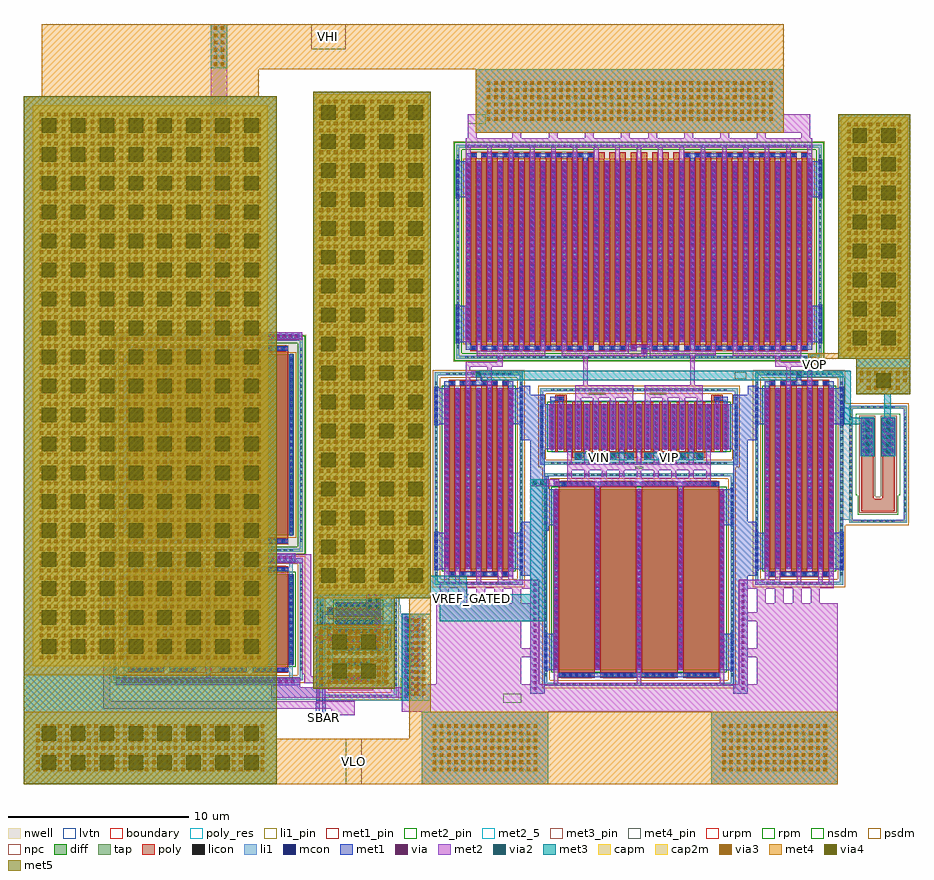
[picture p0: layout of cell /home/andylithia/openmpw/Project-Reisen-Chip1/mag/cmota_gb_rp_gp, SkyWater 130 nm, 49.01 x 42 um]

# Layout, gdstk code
from math import pi, radians
import gdstk
lib = gdstk.Library(unit=1e-6, precision=1e-09)
def R(c, l, rs):  # rectangles x0, y0, x1, y1
    for r in rs: c.add(gdstk.rectangle(r[:2], r[2:], *l))
def A(c, l, x, y, w, h, nx, ny, dx, dy):  # array of equal rectangles
    R(c, l, [(x+i*dx, y+j*dy, x+i*dx+w, y+j*dy+h) for i in range(nx) for j in range(ny)])
nwell = (64, 20)
diff = (65, 20)
tap = (65, 44)
poly_res = (66, 13)
poly = (66, 20)
licon = (66, 44)
li1_pin = (67, 16)
li1 = (67, 20)
mcon = (67, 44)
met1_pin = (68, 16)
met1 = (68, 20)
via = (68, 44)
met2_5 = (69, 5)
met2_pin = (69, 16)
met2 = (69, 20)
via2 = (69, 44)
met3_pin = (70, 16)
met3 = (70, 20)
via3 = (70, 44)
met4_pin = (71, 16)
met4 = (71, 20)
via4 = (71, 44)
met5 = (72, 20)
urpm = (79, 20)
rpm = (86, 20)
capm = (89, 44)
nsdm = (93, 44)
psdm = (94, 20)
npc = (95, 20)
cap2m = (97, 44)
lvtn = (125, 44)
boundary = (235, 4)

imirror2 = lib.new_cell('imirror2')
R(imirror2, nwell, [(19.49,7.09,30.32,19.28)])
R(imirror2, diff, [(20.175,1.035,29.625,6.035), (20.18,8.185,29.63,18.185)])
R(imirror2, tap, [(19.665,0.165,30.135,0.335), (19.665,0.335,19.835,6.735), (29.965,0.335,30.135,6.735), (19.665,6.735,30.135,6.905), (19.67,7.27,30.14,7.44), (19.67,7.44,19.84,18.93), (29.97,7.44,30.14,18.93), (19.67,18.93,30.14,19.1)])
A(imirror2, poly, 20.465, 0.595, 2, 5.88, 4, 1, 2.29, 0)
A(imirror2, poly, 20.47, 7.7, 2, 10.97, 4, 1, 2.29, 0)
A(imirror2, licon, 20.225, 0.165, 0.17, 0.17, 28, 2, 0.34, 6.57)
A(imirror2, licon, 20.7, 0.675, 0.17, 0.17, 5, 2, 0.34, 5.55)
A(imirror2, licon, 22.91, 0.675, 0.17, 0.17, 4, 1, 0.34, 0)
A(imirror2, licon, 25.7, 0.675, 0.17, 0.17, 4, 1, 0.34, 0)
A(imirror2, licon, 27.57, 0.675, 0.17, 0.17, 5, 2, 0.34, 5.55)
A(imirror2, licon, 19.665, 0.73, 0.17, 0.17, 1, 17, 0, 0.34)
A(imirror2, licon, 29.965, 0.73, 0.17, 0.17, 1, 17, 0, 0.34)
A(imirror2, licon, 20.235, 1.24, 0.17, 0.17, 5, 14, 2.29, 0.34)
A(imirror2, licon, 22.99, 6.225, 0.17, 0.17, 5, 1, 0.34, 0)
A(imirror2, licon, 25.28, 6.225, 0.17, 0.17, 5, 1, 0.34, 0)
A(imirror2, licon, 20.23, 7.27, 0.17, 0.17, 28, 2, 0.34, 11.66)
A(imirror2, licon, 20.705, 7.78, 0.17, 0.17, 5, 2, 0.34, 10.64)
A(imirror2, licon, 22.995, 7.78, 0.17, 0.17, 5, 2, 0.34, 10.64)
A(imirror2, licon, 25.285, 7.78, 0.17, 0.17, 5, 2, 0.34, 10.64)
A(imirror2, licon, 27.575, 7.78, 0.17, 0.17, 5, 2, 0.34, 10.64)
A(imirror2, licon, 19.67, 7.83, 0.17, 0.17, 1, 32, 0, 0.34)
A(imirror2, licon, 29.97, 7.83, 0.17, 0.17, 1, 32, 0, 0.34)
A(imirror2, licon, 20.24, 8.34, 0.17, 0.17, 5, 29, 2.29, 0.34)
A(imirror2, li1, 20.47, 7.78, 2, 0.17, 4, 2, 2.29, 10.64)
A(imirror2, li1, 20.24, 8.165, 0.17, 10.04, 5, 1, 2.29, 0)
R(imirror2, li1, [(19.8,-0.1,30,0.165), (19.665,0.165,30.135,0.335), (19.665,0.335,19.835,6.735), (20.235,0.335,20.405,0.675), (24.815,0.335,24.985,6.055), (29.395,0.335,29.565,0.675), (29.965,0.335,30.135,6.735), (20.235,0.675,22.465,0.845), (22.755,0.675,24.255,0.845), (25.545,0.675,27.045,0.845), (27.335,0.675,29.565,0.845), (20.235,0.845,20.405,6.225), (29.395,0.845,29.565,6.225), (22.525,1.015,22.695,6.055), (27.105,1.015,27.275,6.055), (20.235,6.225,22.465,6.395), (22.755,6.225,24.755,6.395), (25.045,6.225,27.045,6.395), (27.335,6.225,29.565,6.395), (20.235,6.395,20.405,6.735), (29.395,6.395,29.565,6.735), (19.665,6.735,30.135,6.905), (19.67,7.27,30.14,7.44), (19.67,7.44,19.84,18.93), (29.97,7.44,30.14,18.93), (19.67,18.93,30.14,19.1), (19.8,19.1,30.1,19.4)])
A(imirror2, mcon, 20.135, 0.015, 0.17, 0.17, 27, 1, 0.36, 0)
A(imirror2, mcon, 20.66, 0.675, 0.17, 0.17, 5, 2, 0.36, 5.55)
A(imirror2, mcon, 22.88, 0.675, 0.17, 0.17, 4, 1, 0.36, 0)
A(imirror2, mcon, 25.67, 0.675, 0.17, 0.17, 4, 1, 0.36, 0)
A(imirror2, mcon, 27.53, 0.675, 0.17, 0.17, 5, 2, 0.36, 5.55)
A(imirror2, mcon, 20.235, 1.11, 0.17, 0.17, 5, 14, 2.29, 0.36)
A(imirror2, mcon, 22.95, 6.225, 0.17, 0.17, 5, 1, 0.36, 0)
A(imirror2, mcon, 25.24, 6.225, 0.17, 0.17, 5, 1, 0.36, 0)
A(imirror2, mcon, 20.665, 7.78, 0.17, 0.17, 5, 2, 0.36, 10.64)
A(imirror2, mcon, 22.955, 7.78, 0.17, 0.17, 5, 2, 0.36, 10.64)
A(imirror2, mcon, 25.245, 7.78, 0.17, 0.17, 5, 2, 0.36, 10.64)
A(imirror2, mcon, 27.535, 7.78, 0.17, 0.17, 5, 2, 0.36, 10.64)
A(imirror2, mcon, 20.24, 8.42, 0.17, 0.17, 5, 27, 2.29, 0.36)
A(imirror2, mcon, 20.005, 19.115, 0.17, 0.17, 28, 1, 0.36, 0)
A(imirror2, met1, 20.49, 18.39, 1.96, 0.23, 4, 1, 2.29, 0)
R(imirror2, met1, [(19.8,-0.1,30,0.3), (20.485,0.645,22.445,0.875), (22.775,0.645,24.235,0.875), (25.565,0.645,27.025,0.875), (27.355,0.645,29.315,0.875), (20.205,1.035,20.435,6.035), (22.48,1.035,22.74,6.035), (24.77,1.035,25.03,6.035), (27.06,1.035,27.32,5.73), (29.365,1.035,29.595,6.035), (26.745,5.73,27.32,6.035), (26.745,6.035,27.05,6.195), (20.485,6.195,22.445,6.425), (22.775,6.195,24.735,6.425), (25.065,6.195,27.05,6.425), (27.355,6.195,29.315,6.425), (22.775,6.425,24.73,6.6), (26.745,6.425,27.05,6.725), (19.7,6.6,24.73,6.66), (19.7,6.66,24.6,7.1), (27.6,6.7,29.7,6.725), (26.745,6.725,29.7,7.03), (27.6,7.03,29.7,7.2), (19.7,7.1,21.3,7.3), (20.49,7.75,22.45,7.98), (22.78,7.75,27.03,7.78), (27.36,7.75,29.32,7.98), (22.76,7.78,27.03,7.98), (22.76,7.98,23.035,8.185), (20.21,8.185,20.44,18.185), (22.485,8.185,23.035,8.475), (24.775,8.185,25.035,18.185), (27.065,8.185,27.325,18.185), (29.37,8.185,29.6,18.185), (22.485,8.475,22.745,18.185), (19.8,19,30.1,19.4)])
A(imirror2, via, 20.185, 0.025, 0.15, 0.15, 30, 1, 0.32, 0)
A(imirror2, via, 22.535, 1.22, 0.15, 0.15, 3, 15, 2.29, 0.32)
A(imirror2, via, 27.775, 6.875, 0.15, 0.15, 6, 1, 0.32, 0)
A(imirror2, via, 19.945, 6.925, 0.15, 0.15, 4, 1, 0.32, 0)
A(imirror2, via, 22.54, 8.31, 0.15, 0.15, 3, 31, 2.29, 0.32)
A(imirror2, via, 20.075, 19.125, 0.15, 0.15, 31, 1, 0.32, 0)
R(imirror2, met2_5, [(19.8,-0.1,20,0.3), (29.6,6.7,29.7,7.2), (19.8,19,20,19.4)])
R(imirror2, met2_pin, [(19.5,6.6,19.8,7.3)])
R(imirror2, met2, [(19.8,-0.1,30,0.3), (24.77,0.3,25.03,6.035), (22.48,1.035,22.74,8.185), (27.06,1.035,27.32,8.185), (19.5,6.6,19.8,6.7), (19.5,6.7,21.3,7.3), (27.6,6.7,29.7,7.2), (22.48,8.185,22.745,15.94), (24.775,8.185,25.035,19), (27.06,8.185,27.325,8.295), (27.065,8.295,27.325,18.185), (22.485,15.94,22.745,18.185), (19.8,19,30.1,19.4)])
R(imirror2, nsdm, [(20.05,0.91,29.75,6.16), (19.545,7.145,30.265,7.565), (19.545,7.565,19.965,18.805), (29.845,7.565,30.265,18.805), (19.545,18.805,30.265,19.225)])
R(imirror2, psdm, [(19.54,0.04,30.26,0.46), (19.54,0.46,19.96,6.61), (29.84,0.46,30.26,6.61), (19.54,6.61,30.26,7.03), (20.055,8.06,29.755,18.31)])
A(imirror2, npc, 20.6, 6.125, 1.73, 0.37, 4, 1, 2.29, 0)
A(imirror2, npc, 20.605, 7.68, 1.73, 0.37, 4, 2, 2.29, 10.64)
R(imirror2, npc, [(20.6,0.575,22.33,0.945), (22.81,0.575,24.2,0.945), (25.6,0.575,26.99,0.945), (27.47,0.575,29.2,0.945)])
imirror2.add(gdstk.Label('IN', (19.65,6.95), layer=69, texttype=16))
imirror2.add(gdstk.Label('OUT', (29.65,6.95), layer=69, texttype=5))
imirror2.add(gdstk.Label('VHI', (19.9,19.2), layer=69, texttype=5))
imirror2.add(gdstk.Label('VLO', (19.9,0.1), layer=69, texttype=5))

gated_iref_fix = lib.new_cell('gated_iref_fix')
R(gated_iref_fix, diff, [(8.1,0.75,10.79,3.25)])
R(gated_iref_fix, tap, [(5.51,-0.12,11.3,0.05), (5.51,0.05,5.68,3.95), (11.13,0.05,11.3,3.95), (5.51,3.95,11.3,4.12)])
R(gated_iref_fix, poly_res, [(6.39,2.63,6.74,3.02), (7.22,2.63,7.57,3.02), (6.39,3.02,7.57,3.37)])
R(gated_iref_fix, poly, [(9.285,0.22,9.6,0.66), (8.41,0.31,9.04,0.64), (9.85,0.31,10.48,0.64), (6.39,0.53,6.74,3.02), (7.22,0.53,7.57,3.02), (8.41,0.64,8.56,3.38), (8.89,0.64,9.04,3.38), (9.85,0.64,10,3.38), (10.33,0.64,10.48,3.38), (9.37,0.66,9.52,3.38), (6.39,3.02,7.57,3.37)])
A(gated_iref_fix, licon, 6.16, -0.12, 0.17, 0.17, 14, 2, 0.34, 4.07)
A(gated_iref_fix, licon, 5.51, 0.385, 0.17, 0.17, 1, 10, 0, 0.34)
A(gated_iref_fix, licon, 11.13, 0.385, 0.17, 0.17, 1, 10, 0, 0.34)
A(gated_iref_fix, licon, 8.16, 0.895, 0.17, 0.17, 6, 7, 0.48, 0.34)
R(gated_iref_fix, licon, [(9.36,0.355,9.53,0.525), (8.79,0.39,8.96,0.56), (10.23,0.39,10.4,0.56), (6.47,0.61,6.66,2.61), (7.3,0.61,7.49,2.61)])
R(gated_iref_fix, li1_pin, [(5.34,4.31,6.62,4.4)])
R(gated_iref_fix, li1, [(5.4,-2.8,6.4,-1.2), (5.4,-1.2,6.1,-0.29), (5.34,-0.29,11.47,0.05), (5.34,0.05,5.68,3.95), (9.345,0.05,9.545,0.355), (11.13,0.05,11.47,3.95), (6.39,0.335,6.74,2.69), (7.22,0.335,8.33,0.59), (9.28,0.355,9.61,0.525), (8.71,0.39,9.04,0.56), (10.15,0.39,10.48,0.56), (7.22,0.59,7.57,2.69), (8.16,0.59,8.33,3.27), (8.64,0.73,8.81,3.27), (9.12,0.73,9.29,3.27), (9.6,0.73,9.77,3.95), (10.08,0.73,10.25,3.27), (10.56,0.73,10.73,3.95), (5.34,3.95,11.47,4.29), (5.34,4.29,10.62,4.33), (5.34,4.33,10.14,4.9)])
A(gated_iref_fix, mcon, 6.48, 0.545, 0.17, 0.17, 1, 6, 0, 0.36)
A(gated_iref_fix, mcon, 8.16, 0.835, 0.17, 0.17, 6, 7, 0.48, 0.36)
A(gated_iref_fix, mcon, 5.495, 4.565, 0.17, 0.17, 13, 1, 0.36, 0)
R(gated_iref_fix, mcon, [(8.79,0.39,8.96,0.56), (10.23,0.39,10.4,0.56)])
R(gated_iref_fix, met1_pin, [(5.2,-0.31,5.32,-0.15), (5.2,0,5.32,0.16)])
R(gated_iref_fix, met1, [(8.64,-0.405,9.04,-0.315), (5.195,-0.315,9.045,-0.145), (5.19,-0.005,10.25,0.165), (10.08,0.165,10.25,0.36), (8.64,0.33,9.04,0.59), (6.39,0.335,6.74,2.69), (10.08,0.36,10.48,0.59), (10.035,0.745,10.295,3.25), (8.13,0.75,8.36,3.59), (8.595,0.75,8.855,3.25), (9.09,0.75,9.32,3.59), (9.57,0.75,9.8,3.25), (10.53,0.75,10.76,3.25), (8.13,3.59,9.32,3.79), (5.34,4.4,10.14,5.6)])
A(gated_iref_fix, via, 6.49, 0.645, 0.15, 0.15, 1, 6, 0, 0.32)
A(gated_iref_fix, via, 8.65, 0.965, 0.15, 0.15, 1, 7, 0, 0.32)
A(gated_iref_fix, via, 10.09, 0.965, 0.15, 0.15, 1, 7, 0, 0.32)
A(gated_iref_fix, via, 5.585, 4.605, 0.15, 0.15, 14, 3, 0.32, 0.32)
R(gated_iref_fix, via, [(8.755,-0.35,8.905,-0.2), (8.75,0.385,8.9,0.535)])
R(gated_iref_fix, met2, [(4.9,-12.1,13.6,-11.7), (4.9,-11.7,5.3,1), (12.9,-11.7,13.6,-11.4), (12.95,-3.55,13.45,-1.1), (5.5,-2.8,6.2,-1.2), (5.5,-1.2,6.1,4.4), (6.8,-1.1,13.45,-1), (6.3,-1,13.45,-0.6), (6.3,-0.6,6.7,0.335), (8.64,-0.405,9.04,-0.145), (8.7,-0.145,8.96,0.33), (8.64,0.33,9.04,0.59), (6.3,0.335,6.74,1.5), (10.035,0.745,10.295,2.45), (8.595,0.75,8.855,2.9), (4.7,1,5.3,1.8), (6.39,1.5,6.74,2.69), (10.035,2.45,11.2,2.9), (8.595,2.9,11.2,3.25), (5.34,4.4,10.14,5.6)])
A(gated_iref_fix, via2, 5.64, 4.7, 0.2, 0.2, 11, 2, 0.4, 0.4)
R(gated_iref_fix, via2, [(10.425,2.55,10.625,2.75), (10.825,2.55,11.025,2.75), (10.425,2.95,10.625,3.15), (10.825,2.95,11.025,3.15)])
R(gated_iref_fix, met3, [(6,-0.5,39,4), (11,4,39,6), (5.34,4.4,10.14,6)])
A(gated_iref_fix, via3, 6.275, -0.15, 0.2, 0.2, 8, 10, 0.4, 0.4)
A(gated_iref_fix, via3, 11.55, -0.15, 0.2, 0.2, 68, 15, 0.4, 0.4)
A(gated_iref_fix, via3, 5.64, 5.1, 0.2, 0.2, 11, 2, 0.4, 0.4)
R(gated_iref_fix, met4, [(6,-0.5,9.55,4), (11,-0.5,39,4.8), (5.34,4.8,39,6)])
A(gated_iref_fix, via4, 11.85, -0.05, 0.8, 0.8, 17, 4, 1.6, 1.6)
R(gated_iref_fix, via4, [(6.575,0.55,7.375,1.35), (8.175,0.55,8.975,1.35), (6.575,2.15,7.375,2.95), (8.175,2.15,8.975,2.95)])
R(gated_iref_fix, met5, [(6,-0.5,39,4), (11,4,39,6)])
R(gated_iref_fix, urpm, [(5.93,0.33,8.03,2.82), (6.19,2.82,7.77,3.57)])
R(gated_iref_fix, capm, [(11.25,-0.35,38.85,5.85)])
R(gated_iref_fix, nsdm, [(7.975,0.625,10.915,3.375)])
R(gated_iref_fix, psdm, [(5.385,-0.245,11.425,0.175), (5.385,0.175,5.805,3.825), (6.28,0.175,7.68,3.825), (11.005,0.175,11.425,3.825), (5.385,3.825,11.425,4.245)])
R(gated_iref_fix, npc, [(9.26,0.255,9.63,0.29), (8.69,0.29,9.63,0.625), (10.13,0.29,10.5,0.66), (6.295,0.435,6.835,2.925), (7.125,0.435,7.665,2.925), (8.69,0.625,9.06,0.66), (6.295,2.925,7.665,3.465)])
R(gated_iref_fix, cap2m, [(11.25,-0.35,38.85,5.85)])
gated_iref_fix.add(gdstk.Reference(imirror2, (6.3,-31.2), rotation=pi/2, x_reflection=True))
gated_iref_fix.add(gdstk.Label('VSUB', (5.98,4.355), layer=67, texttype=16))
gated_iref_fix.add(gdstk.Label('SBAR', (5.26,0.08), layer=68, texttype=16))
gated_iref_fix.add(gdstk.Label('S', (5.26,-0.23), layer=68, texttype=16))

sky130_fd_pr__res_high_p = lib.new_cell('sky130_fd_pr__res_high_po_0p69_G8QCSG')
R(sky130_fd_pr__res_high_p, tap, [(-1.58,-3.24,1.58,-3.07), (-1.58,-3.07,-1.41,3.07), (1.41,-3.07,1.58,3.07), (-1.58,3.07,1.58,3.24)])
R(sky130_fd_pr__res_high_p, poly_res, [(-0.93,-0.49,-0.24,1.9), (0.24,-0.49,0.93,1.9), (-0.93,1.9,0.93,2.59)])
R(sky130_fd_pr__res_high_p, poly, [(-0.93,-2.59,-0.24,1.9), (0.24,-2.59,0.93,1.9), (-0.93,1.9,0.93,2.59)])
A(sky130_fd_pr__res_high_p, licon, -0.935, -3.24, 0.17, 0.17, 6, 2, 0.34, 6.31)
A(sky130_fd_pr__res_high_p, licon, -1.58, -2.635, 0.17, 0.17, 1, 16, 0, 0.34)
A(sky130_fd_pr__res_high_p, licon, 1.41, -2.635, 0.17, 0.17, 1, 16, 0, 0.34)
R(sky130_fd_pr__res_high_p, licon, [(-0.68,-2.51,-0.49,-0.51), (0.49,-2.51,0.68,-0.51)])
R(sky130_fd_pr__res_high_p, li1, [(-1.58,-3.24,1.58,-3.07), (-1.58,-3.07,-1.41,3.07), (1.41,-3.07,1.58,3.07), (-0.93,-2.59,-0.24,-0.43), (0.24,-2.59,0.93,-0.43), (-1.58,3.07,1.58,3.24)])
R(sky130_fd_pr__res_high_p, rpm, [(-1.22,-2.79,1.22,1.7), (-1.13,1.7,1.13,2.79)])
R(sky130_fd_pr__res_high_p, psdm, [(-1.705,-3.365,1.705,3.365)])
R(sky130_fd_pr__res_high_p, npc, [(-1.025,-2.685,-0.145,1.805), (0.145,-2.685,1.025,1.805), (-1.025,1.805,1.025,2.685)])
R(sky130_fd_pr__res_high_p, boundary, [(-1.49,-3.15,1.49,3.15)])

cmota_gb_rp = lib.new_cell('cmota_gb_rp')
R(cmota_gb_rp, nwell, [(2.725,0.33,23.275,12.52)])
R(cmota_gb_rp, diff, [(8.275,-16.7,17.725,-6.7), (2.23,-11.12,6.06,-1.12), (19.935,-11.12,23.765,-1.12), (8.055,-4.5,17.945,-2), (3.415,1.425,22.585,11.425)])
R(cmota_gb_rp, tap, [(7.765,-17.57,18.235,-17.4), (7.765,-17.4,7.935,-6), (18.065,-17.4,18.235,-6), (1.72,-11.99,6.57,-11.82), (19.425,-11.99,24.275,-11.82), (1.72,-11.82,1.89,-0.42), (6.4,-11.82,6.57,-0.42), (19.425,-11.82,19.595,-0.42), (24.105,-11.82,24.275,-0.42), (7.765,-6,18.235,-5.83), (7.545,-5.37,18.455,-5.2), (7.545,-5.2,7.715,-1.3), (18.285,-5.2,18.455,-1.3), (7.545,-1.3,18.455,-1.13), (1.72,-0.42,6.57,-0.25), (19.425,-0.42,24.275,-0.25), (2.905,0.51,23.095,0.68), (2.905,0.68,3.075,12.17), (22.925,0.68,23.095,12.17), (2.905,12.17,23.095,12.34)])
A(cmota_gb_rp, poly, 8.565, -17.14, 2, 10.88, 4, 1, 2.29, 0)
A(cmota_gb_rp, poly, 2.505, -11.56, 0.33, 0.33, 6, 2, 0.59, 10.55)
A(cmota_gb_rp, poly, 20.21, -11.56, 0.33, 0.33, 6, 2, 0.59, 10.55)
A(cmota_gb_rp, poly, 2.52, -11.23, 0.3, 10.22, 6, 1, 0.59, 0)
A(cmota_gb_rp, poly, 20.225, -11.23, 0.3, 10.22, 6, 1, 0.59, 0)
A(cmota_gb_rp, poly, 9.325, -5, 0.63, 0.39, 8, 1, 0.96, 0)
A(cmota_gb_rp, poly, 9.325, -4.61, 0.15, 2.74, 16, 1, 0.48, 0)
A(cmota_gb_rp, poly, 3.69, 0.94, 0.33, 0.33, 32, 2, 0.59, 10.64)
A(cmota_gb_rp, poly, 3.705, 1.27, 0.3, 10.31, 32, 1, 0.59, 0)
R(cmota_gb_rp, poly, [(8.365,-4.63,8.515,-1.87), (8.845,-4.63,8.995,-1.87), (17.005,-4.63,17.155,-1.87), (17.485,-4.63,17.635,-1.87), (8.365,-1.87,8.995,-1.48), (17.005,-1.87,17.635,-1.48)])
A(cmota_gb_rp, licon, 8.325, -17.57, 0.17, 0.17, 28, 2, 0.34, 11.57)
A(cmota_gb_rp, licon, 8.8, -17.06, 0.17, 0.17, 5, 2, 0.34, 10.55)
A(cmota_gb_rp, licon, 11.09, -17.06, 0.17, 0.17, 5, 2, 0.34, 10.55)
A(cmota_gb_rp, licon, 13.38, -17.06, 0.17, 0.17, 5, 2, 0.34, 10.55)
A(cmota_gb_rp, licon, 15.67, -17.06, 0.17, 0.17, 5, 2, 0.34, 10.55)
A(cmota_gb_rp, licon, 7.765, -17.055, 0.17, 0.17, 1, 32, 0, 0.34)
A(cmota_gb_rp, licon, 18.065, -17.055, 0.17, 0.17, 1, 32, 0, 0.34)
A(cmota_gb_rp, licon, 8.335, -16.545, 0.17, 0.17, 5, 29, 2.29, 0.34)
A(cmota_gb_rp, licon, 2.36, -11.99, 0.17, 0.17, 11, 2, 0.34, 11.57)
A(cmota_gb_rp, licon, 20.065, -11.99, 0.17, 0.17, 11, 2, 0.34, 11.57)
A(cmota_gb_rp, licon, 2.585, -11.48, 0.17, 0.17, 6, 2, 0.59, 10.55)
A(cmota_gb_rp, licon, 20.29, -11.48, 0.17, 0.17, 6, 2, 0.59, 10.55)
A(cmota_gb_rp, licon, 1.72, -11.475, 0.17, 0.17, 1, 32, 0, 0.34)
A(cmota_gb_rp, licon, 6.4, -11.475, 0.17, 0.17, 1, 32, 0, 0.34)
A(cmota_gb_rp, licon, 19.425, -11.475, 0.17, 0.17, 1, 32, 0, 0.34)
A(cmota_gb_rp, licon, 24.105, -11.475, 0.17, 0.17, 1, 32, 0, 0.34)
A(cmota_gb_rp, licon, 2.29, -10.965, 0.17, 0.17, 7, 29, 0.59, 0.34)
A(cmota_gb_rp, licon, 19.995, -10.965, 0.17, 0.17, 7, 29, 0.59, 0.34)
A(cmota_gb_rp, licon, 8.155, -5.37, 0.17, 0.17, 29, 2, 0.34, 4.07)
A(cmota_gb_rp, licon, 9.555, -4.92, 0.17, 0.17, 8, 1, 0.96, 0)
A(cmota_gb_rp, licon, 7.545, -4.865, 0.17, 0.17, 1, 10, 0, 0.34)
A(cmota_gb_rp, licon, 18.285, -4.865, 0.17, 0.17, 1, 10, 0, 0.34)
A(cmota_gb_rp, licon, 8.115, -4.355, 0.17, 0.17, 21, 7, 0.48, 0.34)
A(cmota_gb_rp, licon, 3.395, 0.51, 0.17, 0.17, 57, 2, 0.34, 11.66)
A(cmota_gb_rp, licon, 3.77, 1.02, 0.17, 0.17, 32, 1, 0.59, 0)
A(cmota_gb_rp, licon, 2.905, 1.07, 0.17, 0.17, 1, 32, 0, 0.34)
A(cmota_gb_rp, licon, 22.925, 1.07, 0.17, 0.17, 1, 32, 0, 0.34)
A(cmota_gb_rp, licon, 3.475, 1.58, 0.17, 0.17, 33, 29, 0.59, 0.34)
A(cmota_gb_rp, licon, 3.77, 11.66, 0.17, 0.17, 12, 1, 0.59, 0)
A(cmota_gb_rp, licon, 15.57, 11.66, 0.17, 0.17, 12, 1, 0.59, 0)
R(cmota_gb_rp, licon, [(8.595,-1.79,8.765,-1.62), (17.235,-1.79,17.405,-1.62)])
A(cmota_gb_rp, li1, 8.565, -17.06, 2, 0.17, 4, 2, 2.29, 10.55)
A(cmota_gb_rp, li1, 8.335, -16.72, 0.17, 10.04, 5, 1, 2.29, 0)
A(cmota_gb_rp, li1, 2.505, -11.48, 0.33, 0.17, 6, 2, 0.59, 10.55)
A(cmota_gb_rp, li1, 20.21, -11.48, 0.33, 0.17, 6, 2, 0.59, 10.55)
A(cmota_gb_rp, li1, 2.29, -11.14, 0.17, 10.04, 7, 1, 0.59, 0)
A(cmota_gb_rp, li1, 19.995, -11.14, 0.17, 10.04, 7, 1, 0.59, 0)
A(cmota_gb_rp, li1, 9.475, -4.92, 0.33, 0.17, 8, 1, 0.96, 0)
A(cmota_gb_rp, li1, 8.115, -4.52, 0.17, 2.54, 21, 1, 0.48, 0)
A(cmota_gb_rp, li1, 3.69, 1.02, 0.33, 0.17, 32, 1, 0.59, 0)
A(cmota_gb_rp, li1, 3.475, 1.405, 0.17, 10.04, 33, 1, 0.59, 0)
A(cmota_gb_rp, li1, 3.69, 11.66, 0.33, 0.17, 12, 1, 0.59, 0)
A(cmota_gb_rp, li1, 15.49, 11.66, 0.33, 0.17, 12, 1, 0.59, 0)
R(cmota_gb_rp, li1, [(7.765,-17.57,18.235,-17.4), (7.765,-17.4,7.935,-6), (18.065,-17.4,18.235,-6), (1.72,-11.99,6.57,-11.82), (19.425,-11.99,24.275,-11.82), (1.72,-11.82,1.89,-0.42), (6.4,-11.82,6.57,-0.42), (19.425,-11.82,19.595,-0.42), (24.105,-11.82,24.275,-8.4), (24.105,-8.4,24.7,-2.2), (7.765,-6,18.235,-5.83), (7.545,-5.37,18.455,-5.2), (7.545,-5.2,7.715,-1.3), (18.285,-5.2,18.455,-1.3), (25.35,-4.8,25.9,-2.85), (26.5,-4.8,27.05,-2.85), (24.105,-2.2,24.275,-0.42), (8.515,-1.79,8.845,-1.62), (17.155,-1.79,17.485,-1.62), (7.545,-1.3,18.455,-1.13), (1.72,-0.42,6.57,-0.25), (19.425,-0.42,24.275,-0.25), (2.905,0.51,23.095,0.68), (2.905,0.68,3.075,12.17), (22.925,0.68,23.095,12.17), (2.905,12.17,23.095,12.34)])
A(cmota_gb_rp, mcon, 8.76, -17.06, 0.17, 0.17, 5, 2, 0.36, 10.55)
A(cmota_gb_rp, mcon, 11.05, -17.06, 0.17, 0.17, 5, 2, 0.36, 10.55)
A(cmota_gb_rp, mcon, 13.34, -17.06, 0.17, 0.17, 5, 2, 0.36, 10.55)
A(cmota_gb_rp, mcon, 15.63, -17.06, 0.17, 0.17, 5, 2, 0.36, 10.55)
A(cmota_gb_rp, mcon, 7.765, -16.685, 0.17, 0.17, 1, 6, 0, 0.36)
A(cmota_gb_rp, mcon, 18.065, -16.685, 0.17, 0.17, 1, 6, 0, 0.36)
A(cmota_gb_rp, mcon, 8.335, -16.465, 0.17, 0.17, 5, 27, 2.29, 0.36)
A(cmota_gb_rp, mcon, 2.585, -11.48, 0.17, 0.17, 6, 2, 0.59, 10.55)
A(cmota_gb_rp, mcon, 20.29, -11.48, 0.17, 0.17, 6, 2, 0.59, 10.55)
A(cmota_gb_rp, mcon, 1.72, -11.105, 0.17, 0.17, 1, 6, 0, 0.36)
A(cmota_gb_rp, mcon, 6.4, -11.105, 0.17, 0.17, 1, 6, 0, 0.36)
A(cmota_gb_rp, mcon, 19.425, -11.105, 0.17, 0.17, 1, 6, 0, 0.36)
A(cmota_gb_rp, mcon, 24.105, -11.105, 0.17, 0.17, 1, 6, 0, 0.36)
A(cmota_gb_rp, mcon, 2.29, -10.885, 0.17, 0.17, 7, 27, 0.59, 0.36)
A(cmota_gb_rp, mcon, 19.995, -10.885, 0.17, 0.17, 7, 27, 0.59, 0.36)
A(cmota_gb_rp, mcon, 7.765, -8.685, 0.17, 0.17, 1, 6, 0, 0.36)
A(cmota_gb_rp, mcon, 18.065, -8.685, 0.17, 0.17, 1, 6, 0, 0.36)
A(cmota_gb_rp, mcon, 9.555, -4.92, 0.17, 0.17, 8, 1, 0.96, 0)
A(cmota_gb_rp, mcon, 25.36, -4.63, 0.17, 0.17, 1, 5, 0, 0.36)
A(cmota_gb_rp, mcon, 25.72, -4.63, 0.17, 0.17, 1, 5, 0, 0.36)
A(cmota_gb_rp, mcon, 26.51, -4.63, 0.17, 0.17, 1, 5, 0, 0.36)
A(cmota_gb_rp, mcon, 26.87, -4.63, 0.17, 0.17, 1, 5, 0, 0.36)
A(cmota_gb_rp, mcon, 7.545, -4.415, 0.17, 0.17, 1, 7, 0, 0.36)
A(cmota_gb_rp, mcon, 8.115, -4.415, 0.17, 0.17, 21, 7, 0.48, 0.36)
A(cmota_gb_rp, mcon, 18.285, -4.415, 0.17, 0.17, 1, 7, 0, 0.36)
A(cmota_gb_rp, mcon, 1.72, -3.105, 0.17, 0.17, 1, 6, 0, 0.36)
A(cmota_gb_rp, mcon, 6.4, -3.105, 0.17, 0.17, 1, 6, 0, 0.36)
A(cmota_gb_rp, mcon, 19.425, -3.105, 0.17, 0.17, 1, 6, 0, 0.36)
A(cmota_gb_rp, mcon, 24.105, -3.105, 0.17, 0.17, 1, 6, 0, 0.36)
A(cmota_gb_rp, mcon, 3.77, 1.02, 0.17, 0.17, 32, 1, 0.59, 0)
A(cmota_gb_rp, mcon, 2.905, 1.44, 0.17, 0.17, 1, 6, 0, 0.36)
A(cmota_gb_rp, mcon, 22.925, 1.44, 0.17, 0.17, 1, 6, 0, 0.36)
A(cmota_gb_rp, mcon, 3.475, 1.66, 0.17, 0.17, 33, 27, 0.59, 0.36)
A(cmota_gb_rp, mcon, 2.905, 9.44, 0.17, 0.17, 1, 6, 0, 0.36)
A(cmota_gb_rp, mcon, 22.925, 9.44, 0.17, 0.17, 1, 6, 0, 0.36)
A(cmota_gb_rp, mcon, 3.77, 11.66, 0.17, 0.17, 12, 1, 0.59, 0)
A(cmota_gb_rp, mcon, 15.57, 11.66, 0.17, 0.17, 12, 1, 0.59, 0)
R(cmota_gb_rp, mcon, [(8.595,-1.79,8.765,-1.62), (17.235,-1.79,17.405,-1.62)])
R(cmota_gb_rp, met1_pin, [(8.36,-6.54,8.485,-6.31)])
A(cmota_gb_rp, met1, 10.58, -16.7, 0.26, 10, 3, 1, 2.29, 0)
A(cmota_gb_rp, met1, 2.835, -11.12, 0.26, 10, 5, 1, 0.59, 0)
A(cmota_gb_rp, met1, 20.54, -11.12, 0.26, 10, 5, 1, 0.59, 0)
A(cmota_gb_rp, met1, 9.445, -5, 0.39, 0.28, 8, 1, 0.96, 0)
A(cmota_gb_rp, met1, 8.515, -4.5, 0.33, 2.5, 19, 1, 0.48, 0)
A(cmota_gb_rp, met1, 4.61, 1.425, 0.26, 10, 9, 1, 0.59, 0)
A(cmota_gb_rp, met1, 11.69, 1.425, 0.26, 10, 5, 1, 0.59, 0)
A(cmota_gb_rp, met1, 16.41, 1.425, 0.26, 10, 10, 1, 0.59, 0)
R(cmota_gb_rp, met1, [(7,-18,7.8,-16.76), (18.2,-18,19,-16.76), (8.585,-17.09,17.415,-16.86), (7,-16.76,7.965,-16.7), (18.035,-16.76,19,-16.7), (7,-16.7,8.55,-14.7), (17.45,-16.7,19,-14.7), (7,-14.7,7.965,-14.64), (8.29,-14.7,8.55,-8.7), (17.45,-14.7,17.71,-8.7), (18.035,-14.7,19,-14.64), (7,-14.64,7.8,-11.5), (18.2,-14.64,19,-11.5), (2.245,-11.51,2.835,-11.28), (3.095,-11.51,5.175,-11.28), (5.475,-11.51,6.045,-11.28), (19.95,-11.51,20.52,-11.28), (20.82,-11.51,22.9,-11.28), (23.18,-11.51,23.75,-11.28), (6.5,-11.5,7.8,-11.18), (18.2,-11.5,19.5,-11.18), (2.245,-11.28,2.505,-11.12), (5.785,-11.28,6.045,-11.12), (19.95,-11.28,20.21,-11.12), (23.49,-11.28,23.75,-11.12), (1.69,-11.18,1.92,-11.12), (6.37,-11.18,7.8,-11.12), (18.2,-11.18,19.625,-11.12), (24.075,-11.18,24.305,-11.12), (1.69,-11.12,2.505,-9.12), (5.785,-11.12,7.8,-9.12), (18.2,-11.12,20.21,-9.12), (23.49,-11.12,24.305,-9.12), (1.69,-9.12,1.92,-9.06), (2.245,-9.12,2.505,-3.12), (5.785,-9.12,6.045,-3.12), (6.37,-9.12,7.8,-9.06), (18.2,-9.12,19.625,-9.06), (19.95,-9.12,20.21,-3.12), (23.49,-9.12,23.75,-3.12), (24.075,-9.12,24.305,-9.06), (6.5,-9.06,7.8,-9), (18.2,-9.06,19.5,-8.76), (6.5,-9,8,-8.7), (18.035,-8.76,19.5,-8.7), (6.5,-8.7,8.55,-8.5), (17.45,-8.7,19.5,-8.5), (7,-8.5,8.55,-6.7), (17.45,-8.5,19,-6.7), (7,-6.7,8,-6), (18.035,-6.7,19,-6.64), (18.2,-6.64,19,-4.5), (8.36,-6.54,17.415,-6.31), (7,-6,7.8,-4.5), (25.25,-4.9,26,-2.75), (26.4,-4.9,27.15,-2.75), (7,-4.5,8.365,-4), (17.635,-4.5,19,-4), (6.5,-4,8.365,-3.18), (17.635,-4,19.5,-3.18), (1.69,-3.18,1.92,-3.12), (6.37,-3.18,8.365,-3.12), (17.635,-3.18,19.625,-3.12), (24.075,-3.18,24.305,-3.12), (1.69,-3.12,2.505,-1.12), (5.785,-3.12,8.365,-2), (17.635,-3.12,20.21,-2), (23.49,-3.12,24.305,-1.12), (5.785,-2,7.8,-1.5), (8.085,-2,8.315,-1.82), (8.565,-2,8.795,-1.82), (17.205,-2,17.435,-1.82), (17.685,-2,17.915,-1.82), (18.2,-2,20.21,-1.5), (8.085,-1.82,8.845,-1.59), (17.155,-1.82,17.915,-1.59), (5.785,-1.5,7,-1.12), (19,-1.5,20.21,-1.12), (1.69,-1.12,1.92,-1.06), (2.245,-1.12,2.505,-0.96), (5.785,-1.12,6.045,-0.96), (6.37,-1.12,7,-1.06), (19,-1.12,19.625,-1.06), (19.95,-1.12,20.21,-0.96), (23.49,-1.12,23.75,-0.96), (24.075,-1.12,24.305,-1.06), (6.5,-1.06,7,-1), (19,-1.06,19.5,-1), (2.245,-0.96,2.835,-0.73), (3.095,-0.96,5.175,-0.73), (5.475,-0.96,6.045,-0.73), (19.95,-0.96,20.52,-0.73), (20.82,-0.96,22.9,-0.73), (23.18,-0.96,23.75,-0.73), (4.015,-0.73,4.275,-0.18), (21.72,-0.73,21.98,-0.18), (13.125,0.74,13.445,0.99), (12.54,0.905,12.87,0.99), (3.43,0.99,4.02,1.22), (4.28,0.99,10.51,1.22), (10.77,0.99,12.87,1.22), (13.125,0.99,15.23,1), (15.49,0.99,21.72,1.22), (21.98,0.99,22.57,1.22), (13.15,1,15.23,1.22), (3.43,1.22,3.69,1.425), (9.92,1.22,10.18,11.63), (12.54,1.22,12.87,1.25), (15.82,1.22,16.08,11.63), (22.31,1.22,22.57,1.425), (2.875,1.365,3.105,1.425), (22.895,1.365,23.125,1.425), (4.02,1.42,4.28,11.425), (2.875,1.425,3.69,3.425), (10.51,1.425,10.77,11.425), (11.1,1.425,11.36,11.43), (14.64,1.425,14.9,11.43), (15.23,1.425,15.49,11.425), (22.31,1.425,23.125,3.425), (2.875,3.425,3.105,3.485), (3.43,3.425,3.69,9.425), (22.31,3.425,22.57,9.425), (22.895,3.425,23.125,3.485), (2.875,9.365,3.105,9.425), (22.895,9.365,23.125,9.425), (2.875,9.425,3.69,11.425), (22.31,9.425,23.125,11.425), (2.875,11.425,3.105,11.485), (3.43,11.425,3.69,11.63), (22.31,11.425,22.57,11.63), (22.895,11.425,23.125,11.485), (3.43,11.63,4.02,11.86), (4.28,11.63,10.51,11.86), (15.49,11.63,21.72,11.86), (21.98,11.63,22.57,11.86)])
A(cmota_gb_rp, via, 7.175, -17.805, 0.15, 0.15, 1, 19, 0, 0.32)
A(cmota_gb_rp, via, 18.675, -17.805, 0.15, 0.15, 1, 19, 0, 0.32)
A(cmota_gb_rp, via, 8.345, -16.575, 0.15, 0.15, 5, 31, 2.29, 0.32)
A(cmota_gb_rp, via, 2.3, -10.995, 0.15, 0.15, 7, 31, 0.59, 0.32)
A(cmota_gb_rp, via, 20.005, -10.995, 0.15, 0.15, 7, 31, 0.59, 0.32)
A(cmota_gb_rp, via, 9.565, -4.935, 0.15, 0.15, 8, 1, 0.96, 0)
A(cmota_gb_rp, via, 25.55, -4.7, 0.15, 0.15, 1, 6, 0, 0.32)
A(cmota_gb_rp, via, 26.7, -4.7, 0.15, 0.15, 1, 6, 0, 0.32)
A(cmota_gb_rp, via, 8.125, -4.445, 0.15, 0.15, 21, 8, 0.48, 0.32)
A(cmota_gb_rp, via, 3.485, 1.55, 0.15, 0.15, 33, 31, 0.59, 0.32)
R(cmota_gb_rp, via, [(4.07,-0.415,4.22,-0.265), (21.775,-0.415,21.925,-0.265), (13.21,0.795,13.36,0.945), (12.635,1.015,12.785,1.165)])
R(cmota_gb_rp, met2_pin, [(5.5,-18.5,6.5,-18), (12.79,-5.565,13.245,-5.475), (10.235,-1.5,11.145,-1.38), (13.585,-1.5,14.495,-1.38), (22.115,0.125,22.55,0.26), (3.54,13.5,4.54,14)])
A(cmota_gb_rp, met2, 8.29, -17.4, 0.26, 10.7, 3, 1, 4.58, 0)
A(cmota_gb_rp, met2, 2, -13, 0.5, 0.83, 3, 1, 1, 0)
A(cmota_gb_rp, met2, 5, -13, 0.5, 0.8, 3, 1, 1, 0)
A(cmota_gb_rp, met2, 9.025, -6.08, 0.27, 0.43, 9, 1, 0.96, 0)
A(cmota_gb_rp, met2, 9.025, -5.3, 0.27, 0.8, 9, 1, 0.96, 0)
A(cmota_gb_rp, met2, 9.475, -5.1, 0.33, 0.41, 8, 1, 0.96, 0)
A(cmota_gb_rp, met2, 8.035, -4.5, 0.33, 2.5, 3, 1, 0.48, 0)
A(cmota_gb_rp, met2, 9.475, -4.5, 0.33, 2.85, 8, 1, 0.96, 0)
A(cmota_gb_rp, met2, 9.955, -4.5, 0.33, 2.5, 8, 1, 0.96, 0)
A(cmota_gb_rp, met2, 4.02, 0.94, 0.26, 10.485, 6, 1, 1.18, 0)
A(cmota_gb_rp, met2, 18.175, 0.94, 0.26, 0.485, 3, 1, 1.18, 0)
A(cmota_gb_rp, met2, 3.43, 1.425, 0.26, 10.745, 8, 1, 1.18, 0)
A(cmota_gb_rp, met2, 14.05, 1.425, 0.26, 10.745, 8, 1, 1.18, 0)
A(cmota_gb_rp, met2, 16.995, 1.425, 0.265, 0.4, 4, 1, 1.18, 0)
A(cmota_gb_rp, met2, 17, 1.825, 0.26, 9.6, 5, 1, 1.18, 0)
A(cmota_gb_rp, met2, 6, 12.68, 0.5, 0.32, 4, 1, 2, 0)
A(cmota_gb_rp, met2, 13.5, 12.68, 0.5, 0.32, 4, 1, 2, 0)
R(cmota_gb_rp, met2, [(5.5,-19,20.5,-17.5), (5.5,-17.5,6.5,-16), (7,-17.5,7.5,-16), (8.29,-17.5,17.71,-17.4), (18.5,-17.5,19,-16), (19.5,-17.5,20.5,-16), (10.58,-16.7,10.84,-6.54), (15.16,-16.7,15.42,-6.54), (5.5,-16,7.5,-15.5), (18.5,-16,20.5,-15.5), (5.5,-15.5,6.5,-14), (7,-15.5,7.5,-14), (18.5,-15.5,19,-14), (19.5,-15.5,20.5,-14), (2,-14,7.5,-13), (18.5,-14,23.64,-13.5), (18.5,-13.5,19,-12.2), (19.5,-13.5,23.64,-13), (19.5,-13,20,-12.2), (20.5,-13,21,-12.2), (21.5,-13,22,-12.17), (22.5,-13,23,-12.17), (5,-12.2,7.5,-12.17), (18.5,-12.2,21,-12.17), (2,-12.17,7.5,-11.82), (18.5,-12.17,23.75,-11.82), (2.245,-11.82,2.505,-1.12), (2.835,-11.82,3.095,-1.12), (4.015,-11.82,4.275,-1.12), (5.195,-11.82,7.5,-11.7), (18.5,-11.82,20.8,-11.7), (21.72,-11.82,21.98,-1.12), (22.9,-11.82,23.16,-1.12), (23.49,-11.82,23.75,-1.12), (5.195,-11.7,5.455,-1.12), (5.785,-11.7,6.045,-1.12), (19.95,-11.7,20.21,-1.12), (20.54,-11.7,20.8,-1.12), (3.425,-11.12,3.685,-0.525), (4.605,-11.12,4.865,-0.525), (21.13,-11.12,21.39,0.07), (22.31,-11.12,22.57,0.07), (9.025,-6.54,16.975,-6.08), (9.025,-5.65,16.975,-5.3), (25.25,-4.9,26,-2.75), (26.4,-4.9,27.15,-2.75), (17.155,-4.5,17.485,-2), (17.635,-4.5,17.965,-2), (9.475,-1.65,12.685,-0.95), (13.315,-1.65,16.525,-0.95), (9.92,-0.95,10.18,0.68), (15.82,-0.95,16.08,0.685), (3.425,-0.525,4.865,-0.155), (21.695,-0.525,22,-0.155), (3.425,-0.155,3.685,0.07), (4.605,-0.155,4.865,0.07), (3.425,0.07,5.46,0.33), (20.535,0.07,22.57,0.2), (20.535,0.2,23,0.33), (5.2,0.33,5.46,0.68), (20.535,0.33,20.795,0.68), (22.35,0.33,23,0.75), (12.28,0.65,13.445,0.68), (4.02,0.68,7.82,0.94), (8.74,0.68,13.445,0.79), (13.585,0.68,14.9,0.69), (18.175,0.68,21.98,0.94), (15.82,0.685,17.255,0.69), (13.585,0.69,17.255,0.94), (8.74,0.79,12.44,0.94), (13.125,0.79,13.445,1), (12.58,0.93,12.84,1.14), (12.28,0.94,12.44,1.39), (13.585,0.94,13.73,1.14), (14.9,0.94,17.255,0.945), (21.715,0.94,21.98,1.825), (14.9,0.945,16.08,0.95), (16.995,0.945,17.255,1.425), (15.82,0.95,16.08,11.425), (12.58,1.14,13.73,1.25), (12.7,1.25,13.73,1.28), (13.46,1.28,13.72,11.425), (12.28,1.39,12.54,11.425), (12.87,1.42,13.13,12.17), (11.1,1.425,11.36,11.425), (14.64,1.425,14.9,11.425), (3.43,12.17,22.57,12.68), (3.54,12.68,4.04,13), (21.96,12.68,22.46,13), (3.54,13,22.46,14)])
A(cmota_gb_rp, via2, 9.54, -4.99, 0.2, 0.2, 8, 1, 0.96, 0)
A(cmota_gb_rp, via2, 25.525, -4.725, 0.2, 0.2, 1, 5, 0, 0.4)
A(cmota_gb_rp, via2, 26.675, -4.725, 0.2, 0.2, 1, 5, 0, 0.4)
R(cmota_gb_rp, via2, [(4.045,-0.44,4.245,-0.24), (21.75,-0.44,21.95,-0.24), (22.575,0.375,22.775,0.575)])
R(cmota_gb_rp, met3_pin, [(9.5,-5.05,9.8,-4.75), (16.2,-5.05,16.5,-4.75), (18.305,-0.61,18.925,-0.235)])
R(cmota_gb_rp, met3, [(9.445,-5.1,12.715,-4.69), (13.285,-5.1,16.555,-4.69), (25.25,-4.9,26,-3.125), (26.4,-4.9,27.15,-2.75), (24.33,-3.125,26,-2.755), (24.33,-2.755,24.7,-0.525), (25.25,-2.755,26,-2.75), (26.55,-2.75,26.9,-1.45), (25,-1.45,28,0.5), (4.3,-0.68,21.695,-0.525), (3.965,-0.525,24.7,-0.155), (22.35,0.2,23,0.75), (24,0.5,28,14)])
A(cmota_gb_rp, via3, 25.6, -1.2, 0.2, 0.2, 5, 1, 0.4, 0)
A(cmota_gb_rp, via3, 25.2, -0.8, 0.2, 0.2, 7, 2, 0.4, 0.4)
A(cmota_gb_rp, via3, 24.5, 0.95, 0.2, 0.2, 8, 32, 0.4, 0.4)
R(cmota_gb_rp, via3, [(22.575,0.375,22.775,0.575)])
R(cmota_gb_rp, met4, [(25,-1.45,28,0), (22.35,0.2,23,0.5), (22.35,0.5,28,0.8), (24,0.8,28,14)])
A(cmota_gb_rp, via4, 24.8, 1.25, 0.8, 0.8, 1, 8, 0, 1.6)
A(cmota_gb_rp, via4, 26.4, 1.25, 0.8, 0.8, 1, 8, 0, 1.6)
R(cmota_gb_rp, via4, [(26.1,-1.1,26.9,-0.3)])
R(cmota_gb_rp, met5, [(25,-1.45,28,0.5), (24,0.5,28,14)])
R(cmota_gb_rp, capm, [(24.15,0.65,27.85,13.85)])
R(cmota_gb_rp, nsdm, [(8.15,-16.825,17.85,-6.575), (2.105,-11.245,6.185,-0.995), (19.81,-11.245,23.89,-0.995), (7.93,-4.625,18.07,-1.875), (2.78,0.385,23.22,0.805), (2.78,0.805,3.2,12.045), (22.8,0.805,23.22,12.045), (2.78,12.045,23.22,12.465)])
R(cmota_gb_rp, psdm, [(7.64,-17.695,18.36,-17.275), (7.64,-17.275,8.06,-6.125), (17.94,-17.275,18.36,-6.125), (1.595,-12.115,6.695,-11.695), (19.3,-12.115,24.4,-11.695), (1.595,-11.695,2.015,-0.545), (6.275,-11.695,6.695,-0.545), (19.3,-11.695,19.72,-0.545), (23.98,-11.695,24.4,-8.695), (23.98,-8.695,24.505,-1.965), (7.64,-6.125,18.36,-5.495), (7.42,-5.495,18.58,-5.075), (7.42,-5.075,7.84,-1.425), (18.16,-5.075,18.58,-1.425), (23.98,-1.965,24.4,-0.545), (7.42,-1.425,18.58,-1.005), (1.595,-0.545,6.695,-0.125), (19.3,-0.545,24.4,-0.125), (3.29,1.3,22.71,11.55)])
A(cmota_gb_rp, npc, 8.7, -17.16, 1.73, 0.37, 4, 2, 2.29, 10.55)
A(cmota_gb_rp, npc, 9.455, -5.02, 0.37, 0.37, 8, 1, 0.96, 0)
R(cmota_gb_rp, npc, [(2.485,-11.58,5.805,-11.21), (20.19,-11.58,23.51,-11.21), (8.495,-1.89,8.865,-1.52), (17.135,-1.89,17.505,-1.52), (2.485,-1.03,5.805,-0.66), (20.19,-1.03,23.51,-0.66), (3.67,0.92,22.33,1.29), (3.67,11.56,10.53,11.93), (15.47,11.56,22.33,11.93)])
R(cmota_gb_rp, cap2m, [(24.15,0.65,27.85,13.85)])
R(cmota_gb_rp, lvtn, [(8.185,-4.68,17.815,-1.82)])
cmota_gb_rp.add(gdstk.Reference(sky130_fd_pr__res_high_p, (26.21,-5.33), x_reflection=True))
cmota_gb_rp.add(gdstk.Label('VLO', (6,-18.25), layer=69, texttype=16))
cmota_gb_rp.add(gdstk.Label('VREF', (8.422,-6.425), layer=68, texttype=16))
cmota_gb_rp.add(gdstk.Label('VIP', (16.35,-4.9), layer=70, texttype=16))
cmota_gb_rp.add(gdstk.Label('VIN', (9.65,-4.9), layer=70, texttype=16))
cmota_gb_rp.add(gdstk.Label('VHI', (4.04,13.75), layer=69, texttype=16))
cmota_gb_rp.add(gdstk.Label('VMN', (18.615,-0.422), layer=70, texttype=16))
cmota_gb_rp.add(gdstk.Label('VOP', (22.332,0.192), layer=69, texttype=16))
cmota_gb_rp.add(gdstk.Label('COM', (13.017,-5.52), layer=69, texttype=16))
cmota_gb_rp.add(gdstk.Label('DN', (10.69,-1.44), layer=69, texttype=16))
cmota_gb_rp.add(gdstk.Label('DP', (14.04,-1.44), layer=69, texttype=16))

c__home_andylithia_openmpw = lib.new_cell('/home/andylithia/openmpw/Project-Reisen-Chip1/mag/cmota_gb_rp_gp')
R(c__home_andylithia_openmpw, met1_pin, [(-18.845,-35.42,-18.645,-35.22), (-18.505,-35.42,-18.305,-35.22)])
R(c__home_andylithia_openmpw, met1, [(-18.845,-35.42,-18.645,-34.42), (-18.505,-35.42,-18.305,-34.42), (-5.71,-22.55,-5.39,-22.15)])
R(c__home_andylithia_openmpw, via, [(-5.625,-22.425,-5.475,-22.275)])
R(c__home_andylithia_openmpw, met2_pin, [(-18,-35.42,-17.6,-35.02), (8.41,-15.93,9.01,-15.67)])
R(c__home_andylithia_openmpw, met2, [(-13,-39,-6,-35), (3,-39,10,-35), (-18,-35.42,-17.6,-35.2), (-18,-35.2,-16.7,-34.5), (-14.1,-35,-8,-33.5), (6,-35,10,-30), (-12.2,-33.5,-8,-29), (8,-30,10,-29), (-7,-22.55,-5.39,-22.15), (8.41,-15.93,9.01,-15.9), (8.4,-15.9,9.01,-15.7), (8.41,-15.7,9.01,-15.67), (-24.65,-14.05,-23.75,3), (-10,-3,7,0.5)])
A(c__home_andylithia_openmpw, via2, -12.4, -38.3, 0.2, 0.2, 15, 7, 0.4, 0.4)
A(c__home_andylithia_openmpw, via2, 3.6, -38.3, 0.2, 0.2, 15, 7, 0.4, 0.4)
A(c__home_andylithia_openmpw, via2, -9.4, -2.35, 0.2, 0.2, 40, 6, 0.4, 0.4)
A(c__home_andylithia_openmpw, via2, -24.5, 0.675, 0.2, 0.2, 1, 6, 0, 0.4)
A(c__home_andylithia_openmpw, via2, -24.1, 0.675, 0.2, 0.2, 1, 6, 0, 0.4)
R(c__home_andylithia_openmpw, via2, [(-6.85,-22.45,-6.65,-22.25), (-6.45,-22.45,-6.25,-22.25)])
R(c__home_andylithia_openmpw, met3_pin, [(-10.4,-28.9,-10.1,-28.6), (-3.3,-21,-3.1,-20.9), (0.6,-21,0.8,-20.9)])
R(c__home_andylithia_openmpw, met3, [(-35,-39,-21,-1), (-13,-39,-6,-35), (3,-39,10,-35), (-12,-30,-6.1,-28.5), (-16,-29,-15,-28), (-13,-28.5,-10.5,-27.5), (-7,-28.5,-6.1,-22.15), (-3.3,-21,-3.1,-20.9), (0.6,-21,0.8,-20.9), (-10,-3,7,0.5), (-24.65,0.55,-23.75,3)])
A(c__home_andylithia_openmpw, via3, -34.3, -38.3, 0.2, 0.2, 32, 7, 0.4, 0.4)
A(c__home_andylithia_openmpw, via3, -12.4, -38.3, 0.2, 0.2, 15, 7, 0.4, 0.4)
A(c__home_andylithia_openmpw, via3, 3.6, -38.3, 0.2, 0.2, 15, 7, 0.4, 0.4)
A(c__home_andylithia_openmpw, via3, -34.1, -32.1, 0.2, 0.2, 31, 76, 0.4, 0.4)
A(c__home_andylithia_openmpw, via3, -9.4, -2.35, 0.2, 0.2, 40, 6, 0.4, 0.4)
A(c__home_andylithia_openmpw, via3, -24.5, 0.675, 0.2, 0.2, 1, 6, 0, 0.4)
A(c__home_andylithia_openmpw, via3, -24.1, 0.675, 0.2, 0.2, 1, 6, 0, 0.4)
R(c__home_andylithia_openmpw, met4_pin, [(-17.2,-39,-16.3,-36.5), (-19.1,1.6,-17.2,3)])
R(c__home_andylithia_openmpw, met4, [(-35,-39,10,-36.5), (-35,-36.5,-21,-35), (-13.7,-36.5,10,-35), (-13.7,-35,-12.505,-34.16), (-35,-33,-21,-1), (-10,-3,7,0.5), (-34,-1,-22,0.5), (-34,0.5,7,3)])
A(c__home_andylithia_openmpw, via4, -34, -38.2, 0.8, 0.8, 8, 2, 1.6, 1.6)
A(c__home_andylithia_openmpw, via4, -34, -31.8, 0.8, 0.8, 8, 19, 1.6, 1.6)
R(c__home_andylithia_openmpw, met5, [(-35,-39,-21,-1)])
R(c__home_andylithia_openmpw, capm, [(-34.5,-32.5,-21.5,-1.5)])
R(c__home_andylithia_openmpw, cap2m, [(-34.5,-32.5,-21.5,-1.5)])
c__home_andylithia_openmpw.add(gdstk.Reference(gated_iref_fix, (-18.5,-39.74), rotation=pi/2, x_reflection=True))
c__home_andylithia_openmpw.add(gdstk.Reference(cmota_gb_rp, (-13.99,-16)))
c__home_andylithia_openmpw.add(gdstk.Label('VIN', (-3.2,-20.95), layer=70, texttype=16))
c__home_andylithia_openmpw.add(gdstk.Label('VIP', (0.7,-20.95), layer=70, texttype=16))
c__home_andylithia_openmpw.add(gdstk.Label('VHI', (-18.15,2.3), layer=71, texttype=16))
c__home_andylithia_openmpw.add(gdstk.Label('VLO', (-16.75,-37.75), layer=71, texttype=16))
c__home_andylithia_openmpw.add(gdstk.Label('SBAR', (-18.405,-35.32), layer=68, texttype=16))
c__home_andylithia_openmpw.add(gdstk.Label('S', (-18.745,-35.32), layer=68, texttype=16))
c__home_andylithia_openmpw.add(gdstk.Label('VREF', (-17.8,-35.22), layer=69, texttype=16))
c__home_andylithia_openmpw.add(gdstk.Label('VREF_GATED', (-10.25,-28.75), layer=70, texttype=16))
c__home_andylithia_openmpw.add(gdstk.Label('VOP', (8.71,-15.8), layer=69, texttype=16))

lib.write_gds('_home_andylithia_openmpw_Project-Reisen-Chip1_mag_cmota_gb_rp_gp.gds')
